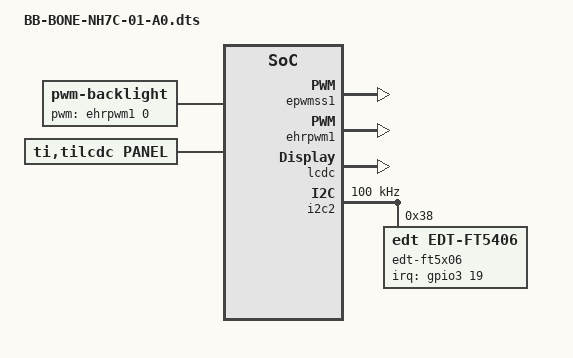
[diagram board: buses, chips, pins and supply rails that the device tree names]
/*
 * Copyright (C) 2012 Texas Instruments Incorporated - http://www.ti.com/
 *
 * This program is free software; you can redistribute it and/or modify
 * it under the terms of the GNU General Public License version 2 as
 * published by the Free Software Foundation.
 */

/dts-v1/;
/plugin/;

#include <dt-bindings/gpio/gpio.h>
#include <dt-bindings/pinctrl/am33xx.h>
#include <dt-bindings/board/am335x-bbw-bbb-base.h>

/ {
	/*
	 * Free up the pins used by the cape from the pinmux helpers.
	 */
	fragment@0 {
		target = <&ocp>;
		__overlay__ {
			P8_45_pinmux { status = "disabled"; };	/* lcd: lcd_data0 */
			P8_46_pinmux { status = "disabled"; };	/* lcd: lcd_data1 */
			P8_43_pinmux { status = "disabled"; };	/* lcd: lcd_data2 */
			P8_44_pinmux { status = "disabled"; };	/* lcd: lcd_data3 */
			P8_41_pinmux { status = "disabled"; };	/* lcd: lcd_data4 */
			P8_42_pinmux { status = "disabled"; };	/* lcd: lcd_data5 */
			P8_39_pinmux { status = "disabled"; };	/* lcd: lcd_data6 */
			P8_40_pinmux { status = "disabled"; };	/* lcd: lcd_data7 */
			P8_37_pinmux { status = "disabled"; };	/* lcd: lcd_data8 */
			P8_38_pinmux { status = "disabled"; };	/* lcd: lcd_data9 */
			P8_36_pinmux { status = "disabled"; };	/* lcd: lcd_data10 */
			P8_34_pinmux { status = "disabled"; };	/* lcd: lcd_data11 */
			P8_35_pinmux { status = "disabled"; };	/* lcd: lcd_data12 */
			P8_33_pinmux { status = "disabled"; };	/* lcd: lcd_data13 */
			P8_31_pinmux { status = "disabled"; };	/* lcd: lcd_data14 */
			P8_32_pinmux { status = "disabled"; };	/* lcd: lcd_data15 */

			P8_15_pinmux { status = "disabled"; };	/* gpmc_ad15.lcd_data16 */
			P8_16_pinmux { status = "disabled"; };	/* gpmc_ad14.lcd_data17 */
			P8_11_pinmux { status = "disabled"; };	/* gpmc_ad13.lcd_data18 */
			P8_12_pinmux { status = "disabled"; };	/* gpmc_ad12.lcd_data19 */
			P8_17_pinmux { status = "disabled"; };	/* gpmc_ad11.lcd_data20 */
			P8_14_pinmux { status = "disabled"; };	/* gpmc_ad10.lcd_data21 */
			P8_13_pinmux { status = "disabled"; };	/* gpmc_ad9.lcd_data22 */
			P8_19_pinmux { status = "disabled"; };	/* gpmc_ad8.lcd_data23 */

			P8_27_pinmux { status = "disabled"; };	/* lcd: lcd_vsync */
			P8_29_pinmux { status = "disabled"; };	/* lcd: lcd_hsync */
			P8_28_pinmux { status = "disabled"; };	/* lcd: lcd_pclk */
			P8_30_pinmux { status = "disabled"; };	/* lcd: lcd_ac_bias_en */

			P8_18_pinmux { status = "disabled"; };	/* lcd: enable */

			P9_14_pinmux { status = "disabled"; };	/* pwm: ehrpwm1a */

			P9_27_pinmux { status = "disabled"; };	/* ft5336: gpio3_15 */
		};
	};

	fragment@1 {
		target = <&am33xx_pinmux>;
		__overlay__ {

			bb_lcd_pwm_backlight_pins: pinmux_bb_lcd_pwm_backlight_pins {
				pinctrl-single,pins = <
					BONE_P9_14 (PIN_OUTPUT_PULLDOWN | MUX_MODE6) /* gpmc_a2.ehrpwm1a */
				>;
			};

			bb_lcd_lcd_pins: pinmux_bb_lcd_lcd_pins {
				pinctrl-single,pins = <
					BONE_P8_45 (PIN_OUTPUT | MUX_MODE0) /* lcd_data0.lcd_data0 */
					BONE_P8_46 (PIN_OUTPUT | MUX_MODE0) /* lcd_data1.lcd_data1 */
					BONE_P8_43 (PIN_OUTPUT | MUX_MODE0) /* lcd_data2.lcd_data2 */
					BONE_P8_44 (PIN_OUTPUT | MUX_MODE0) /* lcd_data3.lcd_data3 */
					BONE_P8_41 (PIN_OUTPUT | MUX_MODE0) /* lcd_data4.lcd_data4 */
					BONE_P8_42 (PIN_OUTPUT | MUX_MODE0) /* lcd_data5.lcd_data5 */
					BONE_P8_39 (PIN_OUTPUT | MUX_MODE0) /* lcd_data6.lcd_data6 */
					BONE_P8_40 (PIN_OUTPUT | MUX_MODE0) /* lcd_data7.lcd_data7 */
					BONE_P8_37 (PIN_OUTPUT | MUX_MODE0) /* lcd_data8.lcd_data8 */
					BONE_P8_38 (PIN_OUTPUT | MUX_MODE0) /* lcd_data9.lcd_data9 */
					BONE_P8_36 (PIN_OUTPUT | MUX_MODE0) /* lcd_data10.lcd_data10 */
					BONE_P8_34 (PIN_OUTPUT | MUX_MODE0) /* lcd_data11.lcd_data11 */
					BONE_P8_35 (PIN_OUTPUT | MUX_MODE0) /* lcd_data12.lcd_data12 */
					BONE_P8_33 (PIN_OUTPUT | MUX_MODE0) /* lcd_data13.lcd_data13 */
					BONE_P8_31 (PIN_OUTPUT | MUX_MODE0) /* lcd_data14.lcd_data14 */
					BONE_P8_32 (PIN_OUTPUT | MUX_MODE0) /* lcd_data15.lcd_data15 */

					BONE_P8_15 (PIN_OUTPUT | MUX_MODE1) /* gpmc_ad15.lcd_data16 */
					BONE_P8_16 (PIN_OUTPUT | MUX_MODE1) /* gpmc_ad14.lcd_data17 */
					BONE_P8_11 (PIN_OUTPUT | MUX_MODE1) /* gpmc_ad13.lcd_data18 */
					BONE_P8_12 (PIN_OUTPUT | MUX_MODE1) /* gpmc_ad12.lcd_data19 */
					BONE_P8_17 (PIN_OUTPUT | MUX_MODE1) /* gpmc_ad11.lcd_data20 */
					BONE_P8_14 (PIN_OUTPUT | MUX_MODE1) /* gpmc_ad10.lcd_data21 */
					BONE_P8_13 (PIN_OUTPUT | MUX_MODE1) /* gpmc_ad9.lcd_data22 */
					BONE_P8_19 (PIN_OUTPUT | MUX_MODE1) /* gpmc_ad8.lcd_data23 */

					BONE_P8_27 (PIN_OUTPUT | MUX_MODE0) /* lcd_vsync.lcd_vsync */
					BONE_P8_29 (PIN_OUTPUT | MUX_MODE0) /* lcd_hsync.lcd_hsync */
					BONE_P8_28 (PIN_OUTPUT | MUX_MODE0) /* lcd_pclk.lcd_pclk */
					BONE_P8_30 (PIN_OUTPUT | MUX_MODE0) /* lcd_ac_bias_en.lcd_ac_bias_en */

					/*LCD enable */
					BONE_P8_18 (PIN_OUTPUT_PULLUP | MUX_MODE7) /* gpmc_clk_mux0.gpio2_1 */
				>;
			};

			edt_ft5x06_pins: pinmux_edt_ft5x06_pins {
				pinctrl-single,pins = <
					BONE_P9_27 (PIN_INPUT_PULLDOWN | MUX_MODE7) /* mcasp0_fsr.gpio3_19 */
				>;
			};
		};
	};

	fragment@2 {
		target = <&epwmss1>;
		__overlay__ {
			status = "okay";
		};
	};

	fragment@3 {
		target = <&ehrpwm1>;
		__overlay__ {
			pinctrl-names = "default";
			pinctrl-0 = <&bb_lcd_pwm_backlight_pins>;
			status = "okay";
		};
	};

	fragment@4 {
		target = <&lcdc>;
		__overlay__ {
			status = "okay";
			blue-and-red-wiring = "crossed";
		};
	};

	fragment@5 {
		target = <&i2c2>;
		__overlay__ {
			status = "okay";

			/* this is the configuration part */
			clock-frequency = <100000>;

			#address-cells = <1>;
			#size-cells = <0>;

			edt-ft5x06@38 {
				status = "okay";
				compatible = "edt,edt-ft5406", "edt,edt-ft5x06";
				reg = <0x38>;
				pinctrl-names = "default";
				pinctrl-0 = <&edt_ft5x06_pins>;
				interrupt-parent = <&gpio3>;
				interrupts = <19 0>;

				touchscreen-size-x = <800>;
				touchscreen-size-y = <480>;
//				touchscreen-swapped-x-y;
			};
		};
	};

	fragment@6 {
		target-path="/";
		__overlay__ {

			/* avoid stupid warning */
			#address-cells = <1>;
			#size-cells = <1>;

			backlight {
				status = "okay";
				compatible = "pwm-backlight";
				pwms = <&ehrpwm1 0 500000 0>;
				brightness-levels = <
					0  1  2  3  4  5  6  7  8  9
					10 11 12 13 14 15 16 17 18 19
					20 21 22 23 24 25 26 27 28 29
					30 31 32 33 34 35 36 37 38 39
					40 41 42 43 44 45 46 47 48 49
					50 51 52 53 54 55 56 57 58 59
					60 61 62 63 64 65 66 67 68 69
					70 71 72 73 74 75 76 77 78 79
					80 81 82 83 84 85 86 87 88 89
					90 91 92 93 94 95 96 97 98 99
					100
				>;
				default-brightness-level = <100>;
			};

			/* NHD-7.0-800480EF-ATXL# */
			panel {
				status = "okay";
				compatible = "ti,tilcdc,panel";
				pinctrl-names = "default";
				pinctrl-0 = <&bb_lcd_lcd_pins>;
				panel-info {
					ac-bias           = <255>;
					ac-bias-intrpt    = <0>;
					dma-burst-sz      = <16>;
					bpp               = <32>;
					fdd               = <0x80>;
					tft-alt-mode      = <0>;
					stn-565-mode      = <0>;
					mono-8bit-mode    = <0>;
					sync-edge         = <0>;
					sync-ctrl         = <0>;
					raster-order      = <0>;
					fifo-th           = <0>;
				};
				display-timings {
					native-mode = <&timing0>;
					timing0: 800x480 {
						clock-frequency = <45000000>;
						hactive = <800>;
						vactive = <480>;
						hfront-porch = <40>;
						hback-porch = <40>;
						hsync-len = <48>;
						vback-porch = <29>;
						vfront-porch = <13>;
						vsync-len = <3>;
						hsync-active = <0>;
						vsync-active = <0>;
					};
				};
			};
		};
	};
};
